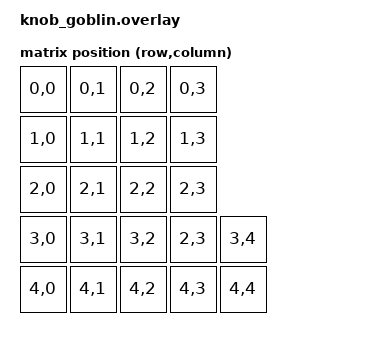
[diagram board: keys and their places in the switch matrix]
#include <dt-bindings/zmk/matrix_transform.h> // Put this with the other includes at the top of your overlay

/ {
    default_transform: keymap_transform0 {
      compatible = "zmk,matrix-transform";
      columns = <5>;
      rows = <5>; // Length of the "row-gpios" array
      map = <
        RC(0,0) RC(0,1) RC(0,2) RC(0,3)
        RC(1,0) RC(1,1) RC(1,2) RC(1,3)
        RC(2,0) RC(2,1) RC(2,2) RC(2,3)
        RC(3,0) RC(3,1) RC(3,2) RC(2,3) RC(3,4)
        RC(4,0) RC(4,1) RC(4,2) RC(4,3) RC(4,4)
        >;
    };
};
